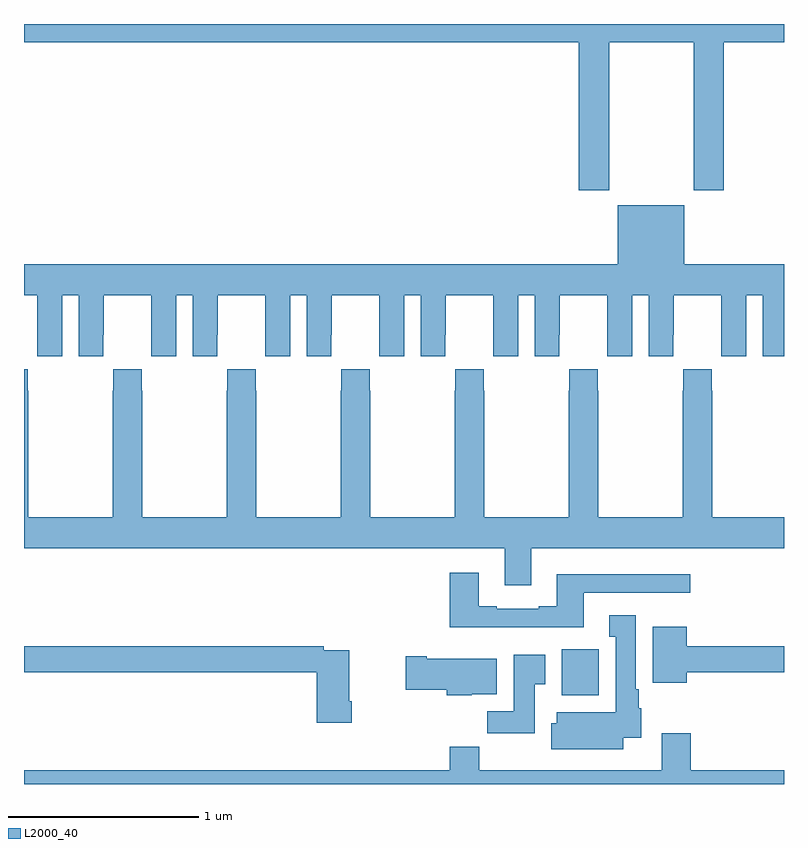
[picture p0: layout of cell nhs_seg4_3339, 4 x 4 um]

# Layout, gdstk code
import gdstk
lib = gdstk.Library(unit=1e-6, precision=1e-09)
def R(c, l, rs):  # rectangles x0, y0, x1, y1
    for r in rs: c.add(gdstk.rectangle(r[:2], r[2:], *l))
def P(c, l, *ps):  # polygons
    for p in ps: c.add(gdstk.Polygon(p, *l))
L2000_40 = (2000, 40)

nhs_seg4_3339 = lib.new_cell('nhs_seg4_3339')
R(nhs_seg4_3339, L2000_40, [(289.829,809.366,290.026,809.608)])
P(nhs_seg4_3339, L2000_40, [(290.079,812.804),(290.524,812.804),(290.524,812.025),(290.684,812.025),(290.684,812.804),(291,812.804),(291,812.9),(287,812.9),(287,812.804),(289.919,812.804),(289.919,812.025),(290.079,812.025)],
  [(287.2,811.472),(287.288,811.472),(287.288,811.152),(287.418,811.152),(287.418,811.264),(287.419,811.264),(287.419,811.472),(287.669,811.472),(287.669,811.264),(287.67,811.264),(287.67,811.152),(287.8,811.152),(287.8,811.472),(287.888,811.472),(287.888,811.152),(288.018,811.152),(288.018,811.264),(288.019,811.264),(288.019,811.472),(288.269,811.472),(288.269,811.264),(288.27,811.264),(288.27,811.152),(288.4,811.152),(288.4,811.472),(288.488,811.472),(288.488,811.152),(288.618,811.152),(288.618,811.264),(288.619,811.264),(288.619,811.472),(288.869,811.472),(288.869,811.264),(288.87,811.264),(288.87,811.152),(289,811.152),(289,811.472),(289.088,811.472),(289.088,811.152),(289.218,811.152),(289.218,811.264),(289.219,811.264),(289.219,811.472),(289.469,811.472),(289.469,811.264),(289.47,811.264),(289.47,811.152),(289.6,811.152),(289.6,811.472),(289.688,811.472),(289.688,811.152),(289.818,811.152),(289.818,811.264),(289.819,811.264),(289.819,811.472),(290.069,811.472),(290.069,811.264),(290.07,811.264),(290.07,811.152),(290.2,811.152),(290.2,811.472),(290.288,811.472),(290.288,811.152),(290.418,811.152),(290.418,811.264),(290.419,811.264),(290.419,811.472),(290.669,811.472),(290.669,811.264),(290.67,811.264),(290.67,811.152),(290.8,811.152),(290.8,811.472),(290.888,811.472),(290.888,811.152),(291,811.152),(291,811.636),(290.476,811.636),(290.476,811.945),(290.126,811.945),(290.126,811.636),(287,811.636),(287,811.472),(287.069,811.472),(287.069,811.264),(287.07,811.264),(287.07,811.152),(287.2,811.152)],
  [(289.669,810.14),(291,810.14),(291,810.304),(290.622,810.304),(290.622,810.971),(290.619,810.971),(290.619,811.084),(290.469,811.084),(290.469,810.971),(290.467,810.971),(290.467,810.304),(290.022,810.304),(290.022,810.971),(290.019,810.971),(290.019,811.084),(289.869,811.084),(289.869,810.971),(289.867,810.971),(289.867,810.304),(289.422,810.304),(289.422,810.971),(289.419,810.971),(289.419,811.084),(289.269,811.084),(289.269,810.971),(289.267,810.971),(289.267,810.304),(288.822,810.304),(288.822,810.971),(288.819,810.971),(288.819,811.084),(288.669,811.084),(288.669,810.971),(288.667,810.971),(288.667,810.304),(288.222,810.304),(288.222,810.971),(288.219,810.971),(288.219,811.084),(288.069,811.084),(288.069,810.971),(288.067,810.971),(288.067,810.304),(287.622,810.304),(287.622,810.971),(287.619,810.971),(287.619,811.084),(287.469,811.084),(287.469,810.971),(287.467,810.971),(287.467,810.304),(287.022,810.304),(287.022,810.971),(287.019,810.971),(287.019,811.084),(287,811.084),(287,810.14),(289.529,810.14),(289.529,809.946),(289.669,809.946)],
  [(289.945,809.907),(290.506,809.907),(290.506,810.004),(289.805,810.004),(289.805,809.836),(289.709,809.836),(289.709,809.823),(289.489,809.823),(289.489,809.836),(289.393,809.836),(289.393,810.013),(289.241,810.013),(289.241,809.726),(289.945,809.726)],
  [(290.155,809.144),(290.248,809.144),(290.248,809.298),(290.236,809.298),(290.236,809.398),(290.221,809.398),(290.221,809.788),(290.081,809.788),(290.081,809.675),(290.114,809.675),(290.114,809.278),(289.805,809.278),(289.805,809.219),(289.775,809.219),(289.775,809.084),(290.155,809.084)],
  [(290.488,809.488),(291,809.488),(291,809.624),(290.488,809.624),(290.488,809.728),(290.309,809.728),(290.309,809.432),(290.488,809.432)],
  [(288.725,809.335),(288.712,809.335),(288.712,809.604),(288.578,809.604),(288.578,809.624),(287,809.624),(287,809.488),(288.542,809.488),(288.542,809.223),(288.725,809.223)],
  [(289.687,809.425),(289.744,809.425),(289.744,809.581),(289.577,809.581),(289.577,809.284),(289.438,809.284),(289.438,809.166),(289.687,809.166)],
  [(289.356,809.372),(289.489,809.372),(289.489,809.56),(289.12,809.56),(289.12,809.573),(289.008,809.573),(289.008,809.395),(289.226,809.395),(289.226,809.366),(289.356,809.366)],
  [(289.397,809.096),(289.241,809.096),(289.241,808.972),(287,808.972),(287,808.9),(291,808.9),(291,808.972),(290.51,808.972),(290.51,809.167),(290.357,809.167),(290.357,808.972),(289.397,808.972)])

lib.write_gds('nhs_seg4_3339.gds')
